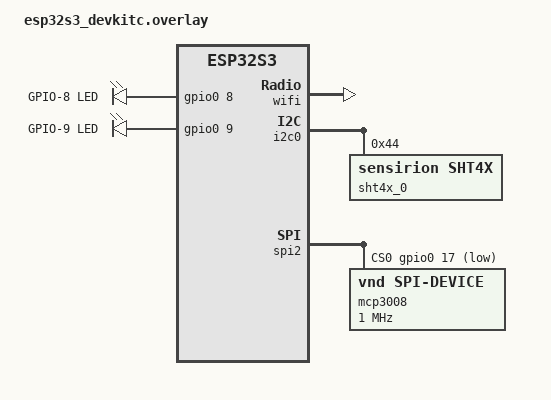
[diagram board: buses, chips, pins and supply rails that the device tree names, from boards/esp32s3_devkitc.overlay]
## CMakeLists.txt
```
cmake_minimum_required(VERSION 3.20.0)

find_package(Zephyr REQUIRED HINTS $ENV{ZEPHYR_BASE})
project(web_controller LANGUAGES C)

target_sources(app PRIVATE src/main.c)

zephyr_linker_sources(SECTIONS sections-rom.ld)
```

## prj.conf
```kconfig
CONFIG_MAIN_STACK_SIZE=4096
CONFIG_ESPTOOLPY_FLASHSIZE_16MB=y
CONFIG_SYSTEM_WORKQUEUE_STACK_SIZE=2048
CONFIG_LOG=y
CONFIG_GPIO=y
CONFIG_HEAP_MEM_POOL_SIZE=65536
CONFIG_CBPRINTF_FP_SUPPORT=y

# Libc selection (POSIX/VFS needed by HTTP server)
CONFIG_MINIMAL_LIBC=n
CONFIG_PICOLIBC=n
CONFIG_NEWLIB_LIBC=y

# POSIX + VFS
CONFIG_POSIX_API=y
CONFIG_FDTABLE=y
CONFIG_ZVFS_OPEN_MAX=32
CONFIG_ZVFS_POLL_MAX=32
CONFIG_EVENTFD=y
CONFIG_FILE_SYSTEM=y

# Networking
CONFIG_NETWORKING=y
CONFIG_NET_IPV4=y
CONFIG_NET_TCP=y
CONFIG_NET_SOCKETS=y
CONFIG_NET_DHCPV4=y
CONFIG_NET_L2_WIFI_MGMT=y
CONFIG_NET_L2_ETHERNET=y
CONFIG_NET_MGMT=y
CONFIG_NET_MGMT_EVENT=y
CONFIG_NET_PKT_RX_COUNT=16
CONFIG_NET_PKT_TX_COUNT=16
CONFIG_NET_BUF_RX_COUNT=128
CONFIG_NET_BUF_TX_COUNT=128
CONFIG_WIFI=y
CONFIG_WIFI_ESP32=y
CONFIG_ESP32_WIFI_STA_AUTO_DHCPV4=n
CONFIG_WIFI_LOG_LEVEL_OFF=y

# HTTP server
CONFIG_HTTP_SERVER=y
CONFIG_HTTP_PARSER=y
CONFIG_HTTP_PARSER_URL=y

# Sensors + buses
CONFIG_SENSOR=y
CONFIG_I2C=y
CONFIG_SPI=y

# JSON (for LED control)
CONFIG_JSON_LIBRARY=y

# Wi-Fi credentials (see wifi_secrets.conf)
CONFIG_WIFI_CREDENTIALS=y
CONFIG_WIFI_CREDENTIALS_STATIC=y
CONFIG_WIFI_CREDENTIALS_STATIC_TYPE_PSK=y
```

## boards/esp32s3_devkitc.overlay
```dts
&wifi {
	status = "okay";
};

/ {
	aliases {
		led0 = &onboard_led;
		led1 = &second_led;
	};
};

&gpio0 {
	status = "okay";
};

&i2c0 {
	status = "okay";

	sht4x_0: sht4x@44 {
		compatible = "sensirion,sht4x";
		reg = <0x44>;
		repeatability = <2>;
	};
};

&spi2 {
	status = "okay";
	cs-gpios = <&gpio0 17 GPIO_ACTIVE_LOW>;

	mcp3008: mcp3008@0 {
		compatible = "vnd,spi-device";
		reg = <0>;
		spi-max-frequency = <1000000>;
	};
};

/ {
	leds {
		compatible = "gpio-leds";

		onboard_led: led_0 {
			gpios = <&gpio0 8 GPIO_ACTIVE_HIGH>;
			label = "GPIO-8 LED";
		};

		second_led: led_1 {
			gpios = <&gpio0 9 GPIO_ACTIVE_HIGH>;
			label = "GPIO-9 LED";
		};
	};
};
```

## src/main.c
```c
#include <zephyr/kernel.h>
#include <zephyr/logging/log.h>
#include <zephyr/net/net_if.h>
#include <zephyr/net/net_ip.h>
#include <zephyr/net/net_mgmt.h>
#include <zephyr/net/dhcpv4.h>
#include <zephyr/net/http/server.h>
#include <zephyr/net/http/service.h>
#include <zephyr/net/http/status.h>
#include <zephyr/net/wifi_mgmt.h>
#include <zephyr/drivers/gpio.h>
#include <zephyr/drivers/sensor.h>
#include <zephyr/drivers/spi.h>
#include <zephyr/data/json.h>
#include <string.h>

LOG_MODULE_REGISTER(web_controller, LOG_LEVEL_INF);

#define HTTP_PORT 80
#define ADC_CHANNELS 8

static struct net_mgmt_event_callback wifi_cb;
static struct net_mgmt_event_callback ipv4_cb;

static K_SEM_DEFINE(wifi_connected, 0, 1);
static K_SEM_DEFINE(ipv4_ready, 0, 1);

#define LED0_NODE DT_ALIAS(led0)
#define LED1_NODE DT_ALIAS(led1)
static const struct gpio_dt_spec led0 = GPIO_DT_SPEC_GET(LED0_NODE, gpios);
static const struct gpio_dt_spec led1 = GPIO_DT_SPEC_GET(LED1_NODE, gpios);

static const struct device *const sht40 = DEVICE_DT_GET(DT_NODELABEL(sht4x_0));
static const struct spi_dt_spec mcp3008 = SPI_DT_SPEC_GET(
	DT_NODELABEL(mcp3008),
	SPI_OP_MODE_MASTER | SPI_WORD_SET(8) | SPI_TRANSFER_MSB,
	0);

static const uint8_t index_html[] =
"<!doctype html>\n"
"<html lang=\"en\">\n"
"<head>\n"
"  <meta charset=\"utf-8\" />\n"
"  <meta name=\"viewport\" content=\"width=device-width, initial-scale=1\" />\n"
"  <title>Zephyr Web Controller</title>\n"
"  <style>\n"
"    :root {\n"
"      --bg: #0b1020;\n"
"      --card: rgba(15,23,42,0.8);\n"
"      --accent: #38bdf8;\n"
"      --accent2: #22c55e;\n"
"      --text: #e2e8f0;\n"
"      --muted: #94a3b8;\n"
"    }\n"
"    * { box-sizing: border-box; }\n"
"    body {\n"
"      margin: 0;\n"
"      min-height: 100vh;\n"
"      font-family: \"Space Grotesk\", \"Segoe UI\", system-ui, sans-serif;\n"
"      color: var(--text);\n"
"      background:\n"
"        radial-gradient(900px 500px at 10% -10%, rgba(56,189,248,0.22), transparent 60%),\n"
"        radial-gradient(800px 400px at 110% 10%, rgba(34,197,94,0.16), transparent 55%),\n"
"        linear-gradient(135deg, #0b1020, #0f172a);\n"
"      display: grid;\n"
"      place-items: center;\n"
"      padding: 24px;\n"
"    }\n"
"    .grid {\n"
"      width: 100%;\n"
"      max-width: 900px;\n"
"      display: grid;\n"
"      grid-template-columns: repeat(auto-fit, minmax(240px, 1fr));\n"
"      gap: 16px;\n"
"    }\n"
"    .card {\n"
"      background: var(--card);\n"
"      border: 1px solid rgba(148,163,184,0.2);\n"
"      border-radius: 16px;\n"
"      padding: 18px;\n"
"      box-shadow: 0 16px 40px rgba(0,0,0,0.35);\n"
"      backdrop-filter: blur(6px);\n"
"    }\n"
"    h1 { margin: 0 0 8px; font-size: 28px; }\n"
"    h2 { margin: 0 0 12px; font-size: 16px; color: var(--muted); }\n"
"    .value { font-size: 26px; font-weight: 600; }\n"
"    .adc {\n"
"      display: grid;\n"
"      grid-template-columns: repeat(2, 1fr);\n"
"      gap: 8px;\n"
"      font-family: ui-monospace, SFMono-Regular, Menlo, monospace;\n"
"      font-size: 13px;\n"
"    }\n"
"    .toggle {\n"
"      display: flex;\n"
"      align-items: center;\n"
"      justify-content: space-between;\n"
"      gap: 10px;\n"
"    }\n"
"    button {\n"
"      background: linear-gradient(90deg, var(--accent), var(--accent2));\n"
"      color: #0b1020;\n"
"      border: 0;\n"
"      border-radius: 999px;\n"
"      padding: 8px 14px;\n"
"      font-weight: 700;\n"
"      cursor: pointer;\n"
"    }\n"
"    .pill { color: var(--muted); font-size: 12px; }\n"
"  </style>\n"
"</head>\n"
"<body>\n"
"  <div class=\"grid\">\n"
"    <div class=\"card\" style=\"grid-column: 1 / -1;\">\n"
"      <h1>Zephyr Web Controller</h1>\n"
"      <div class=\"pill\">Live sensor + ADC values and LED control</div>\n"
"    </div>\n"
"    <div class=\"card\">\n"
"      <h2>SHT40 Temperature</h2>\n"
"      <div id=\"temp\" class=\"value\">--.- C</div>\n"
"    </div>\n"
"    <div class=\"card\">\n"
"      <h2>SHT40 Humidity</h2>\n"
"      <div id=\"rh\" class=\"value\">--.- %</div>\n"
"    </div>\n"
"    <div class=\"card\">\n"
"      <h2>ADC Channels</h2>\n"
"      <div id=\"adc\" class=\"adc\"></div>\n"
"    </div>\n"
"    <div class=\"card\">\n"
"      <h2>LED Control</h2>\n"
"      <div class=\"toggle\">\n"
"        <div>LED0</div>\n"
"        <button onclick=\"setLed(0)\">Toggle</button>\n"
"      </div>\n"
"      <div class=\"toggle\" style=\"margin-top: 10px;\">\n"
"        <div>LED1</div>\n"
"        <button onclick=\"setLed(1)\">Toggle</button>\n"
"      </div>\n"
"    </div>\n"
"  </div>\n"
"  <script>\n"
"    const state = { led0: false, led1: false };\n"
"    async function fetchTelemetry() {\n"
"      const res = await fetch('/api/telemetry');\n"
"      if (!res.ok) return;\n"
"      const data = await res.json();\n"
"      document.getElementById('temp').textContent = data.temp_c.toFixed(1) + ' C';\n"
"      document.getElementById('rh').textContent = data.rh.toFixed(1) + ' %';\n"
"      const adc = data.adc || [];\n"
"      document.getElementById('adc').innerHTML = adc.map((v,i)=>`CH${i}: ${v}`).join('<br/>');\n"
"    }\n"
"    async function setLed(idx) {\n"
"      const key = idx === 0 ? 'led0' : 'led1';\n"
"      state[key] = !state[key];\n"
"      await fetch('/api/led', {\n"
"        method: 'POST',\n"
"        headers: { 'Content-Type': 'application/json' },\n"
"        body: JSON.stringify({ led: idx, state: state[key] ? 1 : 0 })\n"
"      });\n"
"    }\n"
"    setInterval(fetchTelemetry, 1000);\n"
"    fetchTelemetry();\n"
"  </script>\n"
"</body>\n"
"</html>\n";

static struct http_resource_detail_static index_html_resource_detail = {
	.common = {
			.type = HTTP_RESOURCE_TYPE_STATIC,
			.bitmask_of_supported_http_methods = BIT(HTTP_GET),
			.content_type = "text/html; charset=utf-8",
		},
	.static_data = index_html,
	.static_data_len = sizeof(index_html) - 1,
};

static uint16_t web_port = HTTP_PORT;
HTTP_SERVICE_DEFINE(web_controller_service, NULL, &web_port, 1, 10, NULL);

HTTP_RESOURCE_DEFINE(index_html_resource, web_controller_service, "/",
		     &index_html_resource_detail);
HTTP_RESOURCE_DEFINE(index_html_resource_alias, web_controller_service, "/index.html",
		     &index_html_resource_detail);

struct led_command {
	int led;
	int state;
};

static const struct json_obj_descr led_command_descr[] = {
	JSON_OBJ_DESCR_PRIM(struct led_command, led, JSON_TOK_NUMBER),
	JSON_OBJ_DESCR_PRIM(struct led_command, state, JSON_TOK_NUMBER),
};

static const struct http_header json_headers[] = {
	{ .name = "Content-Type", .value = "application/json" },
};

static int read_sht40(float *temp_c, float *rh)
{
	struct sensor_value val;

	if (!device_is_ready(sht40)) {
		return -ENODEV;
	}
	if (sensor_sample_fetch(sht40) < 0) {
		return -EIO;
	}
	if (sensor_channel_get(sht40, SENSOR_CHAN_AMBIENT_TEMP, &val) < 0) {
		return -EIO;
	}
	*temp_c = sensor_value_to_double(&val);
	if (sensor_channel_get(sht40, SENSOR_CHAN_HUMIDITY, &val) < 0) {
		return -EIO;
	}
	*rh = sensor_value_to_double(&val);
	return 0;
}

static int read_mcp3008(uint8_t channel, uint16_t *value)
{
	uint8_t tx[3] = { 0x01, (uint8_t)(0x80 | (channel << 4)), 0x00 };
	uint8_t rx[3] = { 0 };
	const struct spi_buf tx_buf = { .buf = tx, .len = sizeof(tx) };
	const struct spi_buf rx_buf = { .buf = rx, .len = sizeof(rx) };
	const struct spi_buf_set tx_set = { .buffers = &tx_buf, .count = 1 };
	const struct spi_buf_set rx_set = { .buffers = &rx_buf, .count = 1 };

	if (channel > 7) {
		return -EINVAL;
	}
	if (!spi_is_ready_dt(&mcp3008)) {
		return -ENODEV;
	}

	int ret = spi_transceive_dt(&mcp3008, &tx_set, &rx_set);
	if (ret < 0) {
		return ret;
	}

	*value = (uint16_t)(((rx[1] & 0x03) << 8) | rx[2]);
	return 0;
}

static int read_adc_all(uint16_t *values, size_t count)
{
	for (size_t i = 0; i < count; i++) {
		if (read_mcp3008((uint8_t)i, &values[i]) < 0) {
			return -EIO;
		}
	}
	return 0;
}

static int telemetry_handler(struct http_client_ctx *client, enum http_data_status status,
			     uint8_t *buffer, size_t len, struct http_response_ctx *response_ctx,
			     void *user_data)
{
	ARG_UNUSED(client);
	ARG_UNUSED(buffer);
	ARG_UNUSED(len);
	ARG_UNUSED(user_data);

	static char body[256];
	float temp_c = 0.0f;
	float rh = 0.0f;
	uint16_t adc[ADC_CHANNELS] = { 0 };
	int ret;

	if (status != HTTP_SERVER_DATA_FINAL) {
		return 0;
	}

	ret = read_sht40(&temp_c, &rh);
	if (ret < 0) {
		LOG_WRN("SHT40 read failed (%d)", ret);
		temp_c = -1.0f;
		rh = -1.0f;
	}
	if (read_adc_all(adc, ADC_CHANNELS) < 0) {
		LOG_WRN("MCP3008 read failed");
		memset(adc, 0, sizeof(adc));
	}

	ret = snprintk(
		body, sizeof(body),
		"{\"temp_c\":%.1f,\"rh\":%.1f,\"adc\":[%u,%u,%u,%u,%u,%u,%u,%u]}",
		(double)temp_c, (double)rh,
		adc[0], adc[1], adc[2], adc[3],
		adc[4], adc[5], adc[6], adc[7]);

	if (ret < 0) {
		return ret;
	}

	LOG_INF("Telemetry: %.1f C, %.1f %%", (double)temp_c, (double)rh);

	response_ctx->status = HTTP_200_OK;
	response_ctx->headers = json_headers;
	response_ctx->header_count = ARRAY_SIZE(json_headers);
	response_ctx->body = (uint8_t *)body;
	response_ctx->body_len = (size_t)ret;
	response_ctx->final_chunk = true;

	return 0;
}

static struct http_resource_detail_dynamic telemetry_resource_detail = {
	.common = {
			.type = HTTP_RESOURCE_TYPE_DYNAMIC,
			.bitmask_of_supported_http_methods = BIT(HTTP_GET),
		},
	.cb = telemetry_handler,
	.user_data = NULL,
};

static int led_handler(struct http_client_ctx *client, enum http_data_status status,
		       uint8_t *buffer, size_t len, struct http_response_ctx *response_ctx,
		       void *user_data)
{
	ARG_UNUSED(client);
	ARG_UNUSED(user_data);

	static uint8_t post_buf[64];
	static size_t cursor;
	struct led_command cmd;
	int ret;

	if (status == HTTP_SERVER_DATA_ABORTED) {
		cursor = 0;
		return 0;
	}

	if (len + cursor > sizeof(post_buf)) {
		cursor = 0;
		return -ENOMEM;
	}

	memcpy(post_buf + cursor, buffer, len);
	cursor += len;

	if (status == HTTP_SERVER_DATA_FINAL) {
		ret = json_obj_parse(post_buf, cursor, led_command_descr,
				     ARRAY_SIZE(led_command_descr), &cmd);
		cursor = 0;

		if (ret < 0) {
			return -EINVAL;
		}

		if (cmd.led == 0 && gpio_is_ready_dt(&led0)) {
			(void)gpio_pin_set_dt(&led0, cmd.state ? 1 : 0);
		} else if (cmd.led == 1 && gpio_is_ready_dt(&led1)) {
			(void)gpio_pin_set_dt(&led1, cmd.state ? 1 : 0);
		}

		response_ctx->status = HTTP_200_OK;
		response_ctx->headers = json_headers;
		response_ctx->header_count = ARRAY_SIZE(json_headers);
		response_ctx->body = (uint8_t *)"{\"ok\":true}";
		response_ctx->body_len = strlen((char *)response_ctx->body);
		response_ctx->final_chunk = true;
	}

	return 0;
}

static struct http_resource_detail_dynamic led_resource_detail = {
	.common = {
			.type = HTTP_RESOURCE_TYPE_DYNAMIC,
			.bitmask_of_supported_http_methods = BIT(HTTP_POST),
		},
	.cb = led_handler,
	.user_data = NULL,
};

HTTP_RESOURCE_DEFINE(telemetry_resource, web_controller_service, "/api/telemetry",
		     &telemetry_resource_detail);
HTTP_RESOURCE_DEFINE(led_resource, web_controller_service, "/api/led",
		     &led_resource_detail);

static void wifi_event_handler(struct net_mgmt_event_callback *cb,
			       uint32_t mgmt_event, struct net_if *iface)
{
	const struct wifi_status *status = cb->info;

	ARG_UNUSED(iface);

	if (mgmt_event != NET_EVENT_WIFI_CONNECT_RESULT) {
		return;
	}

	if (status->status) {
		LOG_ERR("Wi-Fi connect failed (%d)", status->status);
		return;
	}

	LOG_INF("Wi-Fi connected");
	k_sem_give(&wifi_connected);
}

static void ipv4_event_handler(struct net_mgmt_event_callback *cb,
			       uint32_t mgmt_event, struct net_if *iface)
{
	char addr_buf[NET_IPV4_ADDR_LEN];

	ARG_UNUSED(cb);

	if (mgmt_event != NET_EVENT_IPV4_ADDR_ADD) {
		return;
	}

	for (int i = 0; i < NET_IF_MAX_IPV4_ADDR; i++) {
		if (iface->config.ip.ipv4->unicast[i].ipv4.addr_type != NET_ADDR_DHCP) {
			continue;
		}

		LOG_INF("IPv4 address: %s",
			net_addr_ntop(AF_INET,
				      &iface->config.ip.ipv4->unicast[i].ipv4.address.in_addr,
				      addr_buf, sizeof(addr_buf)));
		LOG_INF("Browser: http://%s/", addr_buf);
		k_sem_give(&ipv4_ready);
		break;
	}
}

static int connect_wifi_and_wait_for_ip(void)
{
	struct net_if *iface = net_if_get_default();
	struct wifi_connect_req_params params = { 0 };
	int ret;

	if (iface == NULL) {
		LOG_ERR("No default network interface");
		return -ENODEV;
	}

	net_mgmt_init_event_callback(&wifi_cb, wifi_event_handler,
				     NET_EVENT_WIFI_CONNECT_RESULT);
	net_mgmt_add_event_callback(&wifi_cb);

	net_mgmt_init_event_callback(&ipv4_cb, ipv4_event_handler,
				     NET_EVENT_IPV4_ADDR_ADD);
	net_mgmt_add_event_callback(&ipv4_cb);

	params.ssid = CONFIG_WIFI_CREDENTIALS_STATIC_SSID;
	params.ssid_length = strlen(CONFIG_WIFI_CREDENTIALS_STATIC_SSID);
	params.psk = CONFIG_WIFI_CREDENTIALS_STATIC_PASSWORD;
	params.psk_length = strlen(CONFIG_WIFI_CREDENTIALS_STATIC_PASSWORD);
	params.security = WIFI_SECURITY_TYPE_PSK;

	LOG_INF("Connecting to Wi-Fi SSID \"%s\"...", CONFIG_WIFI_CREDENTIALS_STATIC_SSID);

	net_if_up(iface);
	ret = net_mgmt(NET_REQUEST_WIFI_CONNECT, iface, &params, sizeof(params));
	if (ret < 0) {
		LOG_ERR("Wi-Fi connect request failed (%d)", ret);
		return ret;
	}

	k_sem_take(&wifi_connected, K_FOREVER);

	LOG_INF("Starting DHCPv4...");
	net_dhcpv4_start(iface);
	k_sem_take(&ipv4_ready, K_FOREVER);

	return 0;
}

static void init_leds(void)
{
	if (gpio_is_ready_dt(&led0)) {
		(void)gpio_pin_configure_dt(&led0, GPIO_OUTPUT_INACTIVE);
	}
	if (gpio_is_ready_dt(&led1)) {
		(void)gpio_pin_configure_dt(&led1, GPIO_OUTPUT_INACTIVE);
	}
}

int main(void)
{
	init_leds();

	if (!device_is_ready(sht40)) {
		LOG_WRN("SHT40 not ready");
	}
	if (!spi_is_ready_dt(&mcp3008)) {
		LOG_WRN("MCP3008 not ready");
	}

	if (connect_wifi_and_wait_for_ip() == 0) {
		LOG_INF("Starting HTTP server on port %u", web_port);
		http_server_start();
	}

	return 0;
}
```
